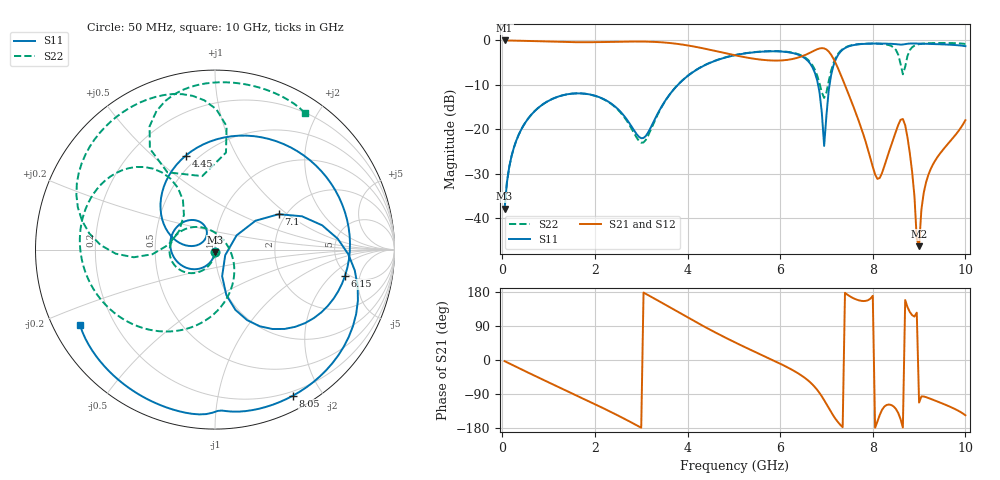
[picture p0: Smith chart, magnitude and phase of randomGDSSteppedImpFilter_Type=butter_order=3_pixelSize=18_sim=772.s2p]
! freq	dB(S11)	phase(S11)	dB(S12)	phase(S12)
!  dB(S21)	phase(S21)	dB(S22)	phase(S22)
!S-par simulation data
#  GHz  S  DB  R 50
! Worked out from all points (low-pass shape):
!   200 points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, 50 MHz to 10 GHz, reference 50 ohm
!   highest |S21| = -0.01 dB at 50 MHz (marker M1); lowest = -46.3 dB at 9 GHz (marker M2)
!   |S21| within 3 dB of the highest: start of sweep to 4.874 GHz; 6.599 GHz to 7.085 GHz (486.6 MHz wide, 7.11 % of centre)
!   lowest |S11| = -37.9 dB at 50 MHz (marker M3), VSWR 1.03, Z = 49.9 - j1.27 ohm
!   |S11| at or under -10 dB: start of sweep to 3.792 GHz; 6.819 GHz to 7.067 GHz (248.6 MHz wide, 3.58 % of centre)
!   |S22| runs from -37.9 to -0.6 dB; largest |S21 - S12| = 0
!   S11 on the Smith chart (normalised r, x): 50 MHz: 1.00, -0.03; 4.45 GHz: 0.43, +0.64; 6.15 GHz: 4.67, -3.00; 7.1 GHz: 1.83, +0.87; 8.05 GHz: 0.15, -1.66; 10 GHz: 0.08, -0.26
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0.05  -37.91 -92.7  -0.01 -3.0  -0.01 -3.0  -37.91 -92.0
0.2  -26.04 -103.5  -0.03 -12.0  -0.03 -12.0  -26.03 -100.8
0.5  -18.47 -123.7  -0.10 -29.8  -0.10 -29.8  -18.45 -117.0
1.75  -11.96 157.0  -0.41 -102.0  -0.41 -102.0  -11.97 177.9
3  -22.03 137.3  -0.25 -178.7  -0.25 -178.7  -23.05 43.4
3.4  -15.64 171.7  -0.39 154.1  -0.39 154.1  -15.78 -48.5
4.45  -5.21 107.2  -2.03 82.4  -2.03 82.4  -5.17 -124.5
5.05  -3.27 63.9  -3.40 45.0  -3.40 45.0  -3.23 -155.0
6.15  -2.63 -11.4  -4.39 -18.9  -4.39 -18.9  -2.56 155.2
6.7  -6.10 -59.6  -2.48 -64.9  -2.48 -64.9  -5.63 124.5
6.85  -11.67 -76.0  -1.81 -87.0  -1.81 -87.0  -9.65 122.9
6.95  -23.76 -28.5  -1.79 -106.0  -1.79 -106.0  -12.95 152.0
7.1  -7.84 29.1  -3.21 -137.5  -3.21 -137.5  -6.85 -174.6
7.4  -1.72 -14.3  -10.07 177.3  -10.07 177.3  -1.62 158.5
8.05  -0.70 -61.9  -30.18 -178.8  -30.18 -178.8  -0.71 119.0
8.35  -0.74 -77.0  -25.09 -117.5  -25.09 -117.5  -1.06 101.9
8.6  -0.94 -87.6  -17.88 -156.1  -17.88 -156.1  -5.29 83.5
8.7  -0.83 -90.8  -19.11 158.3  -19.11 158.3  -5.93 121.6
9  -0.71 -104.8  -46.34 -112.3  -46.34 -112.3  -0.84 101.5
9.05  -0.72 -107.0  -38.09 -96.2  -38.09 -96.2  -0.76 98.5
9.2  -0.77 -113.5  -30.29 -100.2  -30.29 -100.2  -0.63 90.9
10  -1.30 -150.9  -17.97 -145.8  -17.97 -145.8  -0.80 56.6
